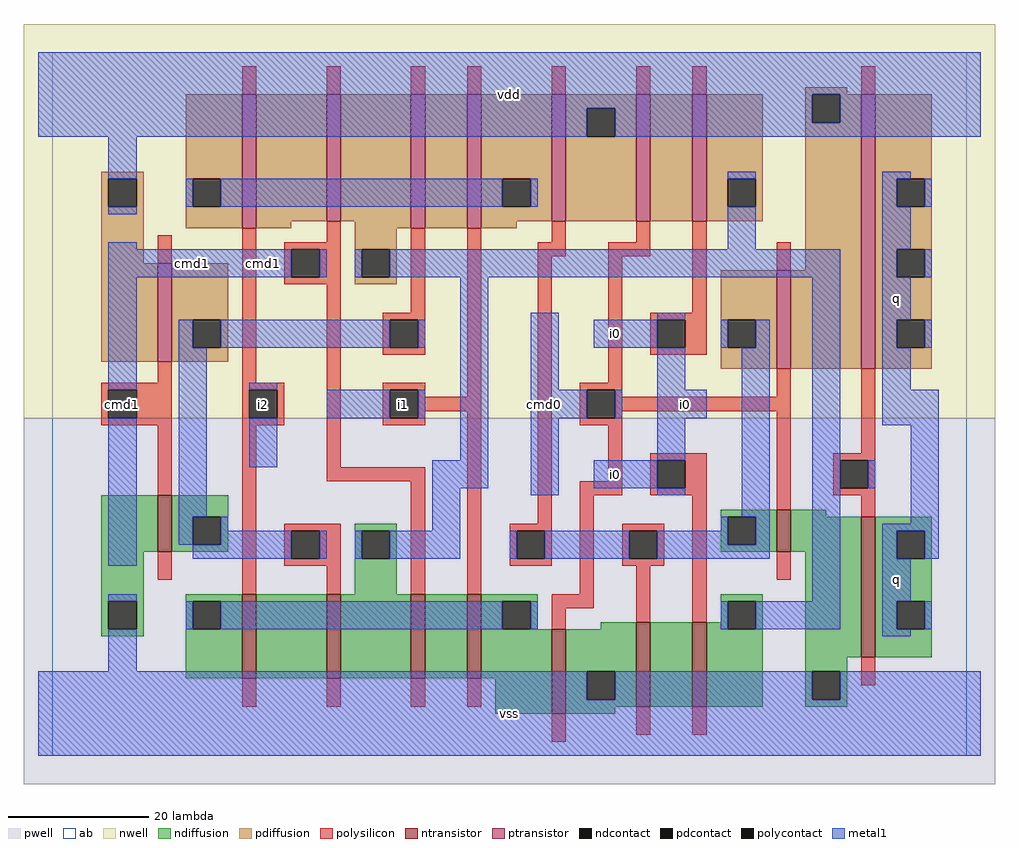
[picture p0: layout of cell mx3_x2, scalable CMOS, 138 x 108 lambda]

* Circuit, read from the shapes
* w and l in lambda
.subckt mx3_x2 cmd0 cmd1 i0 i1 i2 q vdd vss
M1 n1 cmd1 vss VSUBS nfet w=8 l=2
M2 n2 i2 n3 VSUBS nfet w=12 l=2
M3 n4 n1 n2 VSUBS nfet w=12 l=2
M4 n5 cmd1 n4 VSUBS nfet w=12 l=2
M5 n3 i1 n5 VSUBS nfet w=12 l=2
M6 vss cmd0 n3 VSUBS nfet w=12 l=2
M7 n6 n7 vss VSUBS nfet w=12 l=2
M8 n4 i0 n6 VSUBS nfet w=12 l=2
M9 vss cmd0 n7 VSUBS nfet w=6 l=2
M10 q n4 vss VSUBS nfet w=20 l=2
M11 n1 cmd1 vdd n8 pfet w=14 l=2
M12 n9 i2 n10 n8 pfet w=19 l=2
M13 n4 cmd1 n9 n8 pfet w=18 l=2
M14 n11 n1 n4 n8 pfet w=19 l=2
M15 n10 i1 n11 n8 pfet w=19 l=2
M16 vdd n7 n10 n8 pfet w=18 l=2
M17 n12 cmd0 vdd n8 pfet w=18 l=2
M18 n4 i0 n12 n8 pfet w=18 l=2
M19 vdd cmd0 n7 n8 pfet w=14 l=2
M20 q n4 vdd n8 pfet w=39 l=2
.ends

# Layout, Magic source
magic
tech scmos
<< ab >>
rect 0 0 130 100
<< pwell >>
rect -4 -4 134 48
<< nwell >>
rect -4 48 134 104
<< polysilicon >>
rect 27 94 29 98
rect 39 94 41 98
rect 51 94 53 98
rect 59 94 61 98
rect 71 94 73 98
rect 83 94 85 98
rect 91 94 93 98
rect 115 94 117 98
rect 15 70 17 74
rect 15 53 17 56
rect 7 52 17 53
rect 7 48 8 52
rect 12 48 17 52
rect 7 47 17 48
rect 15 37 17 47
rect 27 53 29 75
rect 39 73 41 76
rect 33 72 41 73
rect 33 68 34 72
rect 38 68 41 72
rect 33 67 41 68
rect 27 52 33 53
rect 27 48 28 52
rect 32 48 33 52
rect 27 47 33 48
rect 15 25 17 29
rect 27 23 29 47
rect 39 41 41 67
rect 51 63 53 75
rect 47 62 53 63
rect 47 58 48 62
rect 52 58 53 62
rect 47 57 53 58
rect 47 52 53 53
rect 47 48 48 52
rect 52 51 53 52
rect 59 51 61 75
rect 71 73 73 76
rect 83 73 85 76
rect 52 49 61 51
rect 52 48 53 49
rect 47 47 53 48
rect 39 39 53 41
rect 33 32 41 33
rect 33 28 34 32
rect 38 28 41 32
rect 33 27 41 28
rect 39 23 41 27
rect 51 23 53 39
rect 59 23 61 49
rect 69 71 73 73
rect 79 71 85 73
rect 69 33 71 71
rect 79 53 81 71
rect 91 63 93 76
rect 103 69 105 73
rect 85 62 93 63
rect 85 58 86 62
rect 90 58 93 62
rect 85 57 93 58
rect 75 52 81 53
rect 75 48 76 52
rect 80 51 81 52
rect 103 51 105 55
rect 80 49 105 51
rect 80 48 81 49
rect 75 47 81 48
rect 79 39 81 47
rect 65 32 71 33
rect 65 28 66 32
rect 70 28 71 32
rect 65 27 71 28
rect 75 37 81 39
rect 85 42 93 43
rect 85 38 86 42
rect 90 38 93 42
rect 85 37 93 38
rect 75 23 77 37
rect 81 32 87 33
rect 81 28 82 32
rect 86 28 87 32
rect 81 27 87 28
rect 71 21 77 23
rect 71 18 73 21
rect 83 19 85 27
rect 91 19 93 37
rect 103 35 105 49
rect 115 43 117 55
rect 111 42 117 43
rect 111 38 112 42
rect 116 38 117 42
rect 111 37 117 38
rect 115 34 117 37
rect 103 25 105 29
rect 27 7 29 11
rect 39 7 41 11
rect 51 7 53 11
rect 59 7 61 11
rect 115 10 117 14
rect 71 2 73 6
rect 83 3 85 7
rect 91 3 93 7
<< ndiffusion >>
rect 7 29 15 37
rect 17 34 25 37
rect 17 30 20 34
rect 24 30 25 34
rect 17 29 25 30
rect 7 22 13 29
rect 43 32 49 33
rect 43 28 44 32
rect 48 28 49 32
rect 43 23 49 28
rect 7 18 8 22
rect 12 18 13 22
rect 7 17 13 18
rect 19 22 27 23
rect 19 18 20 22
rect 24 18 27 22
rect 19 11 27 18
rect 29 11 39 23
rect 41 11 51 23
rect 53 11 59 23
rect 61 22 69 23
rect 61 18 64 22
rect 68 18 69 22
rect 95 34 103 35
rect 95 30 96 34
rect 100 30 103 34
rect 95 29 103 30
rect 105 34 110 35
rect 105 29 115 34
rect 95 22 101 23
rect 95 19 96 22
rect 78 18 83 19
rect 61 11 71 18
rect 63 6 71 11
rect 73 12 83 18
rect 73 8 76 12
rect 80 8 83 12
rect 73 7 83 8
rect 85 7 91 19
rect 93 18 96 19
rect 100 18 101 22
rect 93 7 101 18
rect 107 14 115 29
rect 117 32 125 34
rect 117 28 120 32
rect 124 28 125 32
rect 117 22 125 28
rect 117 18 120 22
rect 124 18 125 22
rect 117 14 125 18
rect 107 12 113 14
rect 107 8 108 12
rect 112 8 113 12
rect 107 7 113 8
rect 73 6 80 7
<< pdiffusion >>
rect 107 94 113 95
rect 7 82 13 83
rect 7 78 8 82
rect 12 78 13 82
rect 7 70 13 78
rect 19 82 27 94
rect 19 78 20 82
rect 24 78 27 82
rect 19 75 27 78
rect 29 76 39 94
rect 41 76 51 94
rect 29 75 34 76
rect 7 56 15 70
rect 17 62 25 70
rect 17 58 20 62
rect 24 58 25 62
rect 17 56 25 58
rect 43 75 51 76
rect 53 75 59 94
rect 61 82 71 94
rect 61 78 64 82
rect 68 78 71 82
rect 61 76 71 78
rect 73 92 83 94
rect 73 88 76 92
rect 80 88 83 92
rect 73 76 83 88
rect 85 76 91 94
rect 93 82 101 94
rect 93 78 96 82
rect 100 78 101 82
rect 93 76 101 78
rect 107 90 108 94
rect 112 90 115 94
rect 61 75 66 76
rect 43 72 49 75
rect 43 68 44 72
rect 48 68 49 72
rect 43 67 49 68
rect 107 69 115 90
rect 95 62 103 69
rect 95 58 96 62
rect 100 58 103 62
rect 95 55 103 58
rect 105 55 115 69
rect 117 82 125 94
rect 117 78 120 82
rect 124 78 125 82
rect 117 72 125 78
rect 117 68 120 72
rect 124 68 125 72
rect 117 62 125 68
rect 117 58 120 62
rect 124 58 125 62
rect 117 55 125 58
<< metal1 >>
rect -2 94 132 100
rect -2 92 108 94
rect -2 88 76 92
rect 80 90 108 92
rect 112 90 132 94
rect 80 88 132 90
rect 8 82 12 88
rect 96 82 100 83
rect 19 78 20 82
rect 24 78 64 82
rect 68 78 69 82
rect 8 77 12 78
rect 8 72 12 73
rect 96 72 100 78
rect 118 82 122 83
rect 118 78 120 82
rect 124 78 125 82
rect 118 72 122 78
rect 8 68 34 72
rect 38 68 39 72
rect 43 68 44 72
rect 48 68 112 72
rect 8 52 12 68
rect 8 27 12 48
rect 18 58 20 62
rect 24 58 48 62
rect 52 58 53 62
rect 18 34 22 58
rect 28 52 32 53
rect 39 48 48 52
rect 52 48 53 52
rect 28 41 32 48
rect 58 42 62 68
rect 54 38 62 42
rect 68 52 72 63
rect 86 62 90 63
rect 77 58 86 62
rect 95 58 96 62
rect 100 58 102 62
rect 86 52 90 58
rect 68 48 76 52
rect 80 48 81 52
rect 86 48 93 52
rect 18 30 20 34
rect 24 32 25 34
rect 54 32 58 38
rect 68 37 72 48
rect 86 42 90 48
rect 77 38 86 42
rect 86 37 90 38
rect 98 34 102 58
rect 95 32 96 34
rect 24 30 34 32
rect 20 28 34 30
rect 38 28 39 32
rect 43 28 44 32
rect 48 28 58 32
rect 65 28 66 32
rect 70 28 82 32
rect 86 30 96 32
rect 100 30 102 34
rect 86 28 102 30
rect 8 22 12 23
rect 108 22 112 68
rect 118 68 120 72
rect 124 68 125 72
rect 118 62 122 68
rect 118 58 120 62
rect 124 58 125 62
rect 118 52 122 58
rect 118 47 126 52
rect 116 38 117 42
rect 122 33 126 47
rect 19 18 20 22
rect 24 18 64 22
rect 68 18 69 22
rect 95 18 96 22
rect 100 18 112 22
rect 118 32 126 33
rect 118 28 120 32
rect 124 28 126 32
rect 118 22 122 28
rect 118 18 120 22
rect 124 18 125 22
rect 8 12 12 18
rect 118 17 122 18
rect -2 8 76 12
rect 80 8 108 12
rect 112 8 132 12
rect -2 0 132 8
<< ntransistor >>
rect 15 29 17 37
rect 27 11 29 23
rect 39 11 41 23
rect 51 11 53 23
rect 59 11 61 23
rect 103 29 105 35
rect 71 6 73 18
rect 83 7 85 19
rect 91 7 93 19
rect 115 14 117 34
<< ptransistor >>
rect 27 75 29 94
rect 39 76 41 94
rect 15 56 17 70
rect 51 75 53 94
rect 59 75 61 94
rect 71 76 73 94
rect 83 76 85 94
rect 91 76 93 94
rect 103 55 105 69
rect 115 55 117 94
<< polycontact >>
rect 8 48 12 52
rect 34 68 38 72
rect 28 48 32 52
rect 48 58 52 62
rect 48 48 52 52
rect 34 28 38 32
rect 86 58 90 62
rect 76 48 80 52
rect 66 28 70 32
rect 86 38 90 42
rect 82 28 86 32
rect 112 38 116 42
<< ndcontact >>
rect 20 30 24 34
rect 44 28 48 32
rect 8 18 12 22
rect 20 18 24 22
rect 64 18 68 22
rect 96 30 100 34
rect 76 8 80 12
rect 96 18 100 22
rect 120 28 124 32
rect 120 18 124 22
rect 108 8 112 12
<< pdcontact >>
rect 8 78 12 82
rect 20 78 24 82
rect 20 58 24 62
rect 64 78 68 82
rect 76 88 80 92
rect 96 78 100 82
rect 108 90 112 94
rect 44 68 48 72
rect 96 58 100 62
rect 120 78 124 82
rect 120 68 124 72
rect 120 58 124 62
<< labels >>
rlabel polycontact 10 50 10 50 6 cmd1
rlabel metal1 20 70 20 70 6 cmd1
rlabel polycontact 30 50 30 50 6 i2
rlabel metal1 30 70 30 70 6 cmd1
rlabel metal1 65 6 65 6 6 vss
rlabel polycontact 50 50 50 50 6 i1
rlabel metal1 70 50 70 50 6 cmd0
rlabel metal1 65 94 65 94 6 vdd
rlabel metal1 80 40 80 40 6 i0
rlabel metal1 90 50 90 50 6 i0
rlabel metal1 80 60 80 60 6 i0
rlabel metal1 120 25 120 25 6 q
rlabel metal1 120 65 120 65 6 q
<< end >>
